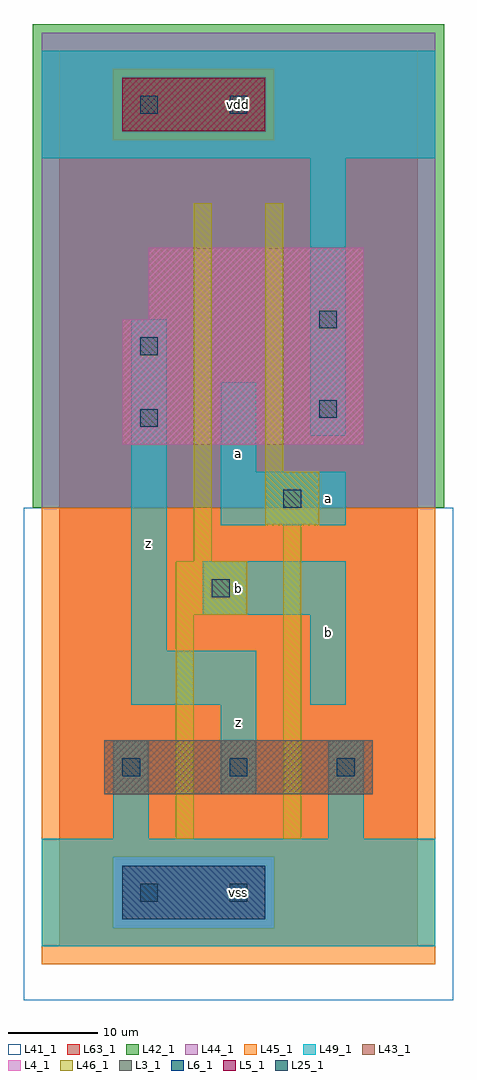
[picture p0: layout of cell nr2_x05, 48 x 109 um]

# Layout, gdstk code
import gdstk
lib = gdstk.Library(unit=1e-6, precision=1e-09)
def R(c, l, rs):  # rectangles x0, y0, x1, y1
    for r in rs: c.add(gdstk.rectangle(r[:2], r[2:], *l))
def A(c, l, x, y, w, h, nx, ny, dx, dy):  # array of equal rectangles
    R(c, l, [(x+i*dx, y+j*dy, x+i*dx+w, y+j*dy+h) for i in range(nx) for j in range(ny)])
L3_1 = (3, 1)
L4_1 = (4, 1)
L5_1 = (5, 1)
L6_1 = (6, 1)
L25_1 = (25, 1)
L41_1 = (41, 1)
L42_1 = (42, 1)
L43_1 = (43, 1)
L44_1 = (44, 1)
L45_1 = (45, 1)
L46_1 = (46, 1)
L49_1 = (49, 1)
L63_1 = (63, 1)

nr2_x05 = lib.new_cell('nr2_x05')
R(nr2_x05, L3_1, [(5,17,35,23)])
R(nr2_x05, L4_1, [(7,56,34,70), (10,70,34,78)])
R(nr2_x05, L5_1, [(7,91,23,97)])
R(nr2_x05, L6_1, [(7,3,23,9)])
A(nr2_x05, L25_1, 7, 19, 2, 2, 3, 1, 12, 0)
R(nr2_x05, L25_1, [(9,5,11,7), (19,5,21,7), (17,39,19,41), (25,49,27,51), (9,58,11,60), (29,59,31,61), (9,66,11,68), (29,69,31,71), (9,93,11,95), (19,93,21,95)])
R(nr2_x05, L41_1, [(-4,-6,44,49), (-3,-3,43,49)])
R(nr2_x05, L42_1, [(-3,49,43,103)])
R(nr2_x05, L43_1, [(7,3,23,9), (5,17,35,23), (7,56,34,70), (10,70,34,78), (7,91,23,97)])
R(nr2_x05, L44_1, [(6,2,24,10), (-2,49,42,90), (-2,90,6,98), (24,90,42,98), (-2,98,42,102)])
R(nr2_x05, L45_1, [(-2,-2,42,2), (-2,2,6,10), (24,2,42,10), (-2,10,42,49), (6,90,24,98)])
R(nr2_x05, L46_1, [(13,12,15,37), (25,12,27,47), (13,37,21,43), (15,43,17,83), (23,47,29,53), (23,53,25,83)])
R(nr2_x05, L49_1, [(-2,0,42,12), (6,12,10,23), (30,12,34,23), (18,17,22,27), (8,27,22,33), (28,27,32,37), (8,33,12,70), (16,37,32,43), (18,47,32,53), (18,53,22,63), (28,57,32,88), (-2,88,42,100)])
R(nr2_x05, L63_1, [(0,0,40,100)])
nr2_x05.add(gdstk.Label('z', (10,45), layer=49, texttype=1))
nr2_x05.add(gdstk.Label('z', (10,45), layer=49, texttype=1))
nr2_x05.add(gdstk.Label('vss', (20,6), layer=49, texttype=1))
nr2_x05.add(gdstk.Label('vss', (20,6), layer=49, texttype=1))
nr2_x05.add(gdstk.Label('z', (20,25), layer=49, texttype=1))
nr2_x05.add(gdstk.Label('z', (20,25), layer=49, texttype=1))
nr2_x05.add(gdstk.Label('b', (20,40), layer=49, texttype=1))
nr2_x05.add(gdstk.Label('b', (20,40), layer=49, texttype=1))
nr2_x05.add(gdstk.Label('a', (20,55), layer=49, texttype=1))
nr2_x05.add(gdstk.Label('a', (20,55), layer=49, texttype=1))
nr2_x05.add(gdstk.Label('vdd', (20,94), layer=49, texttype=1))
nr2_x05.add(gdstk.Label('vdd', (20,94), layer=49, texttype=1))
nr2_x05.add(gdstk.Label('b', (30,35), layer=49, texttype=1))
nr2_x05.add(gdstk.Label('b', (30,35), layer=49, texttype=1))
nr2_x05.add(gdstk.Label('a', (30,50), layer=49, texttype=1))
nr2_x05.add(gdstk.Label('a', (30,50), layer=49, texttype=1))

lib.write_gds('nr2_x05.gds')
